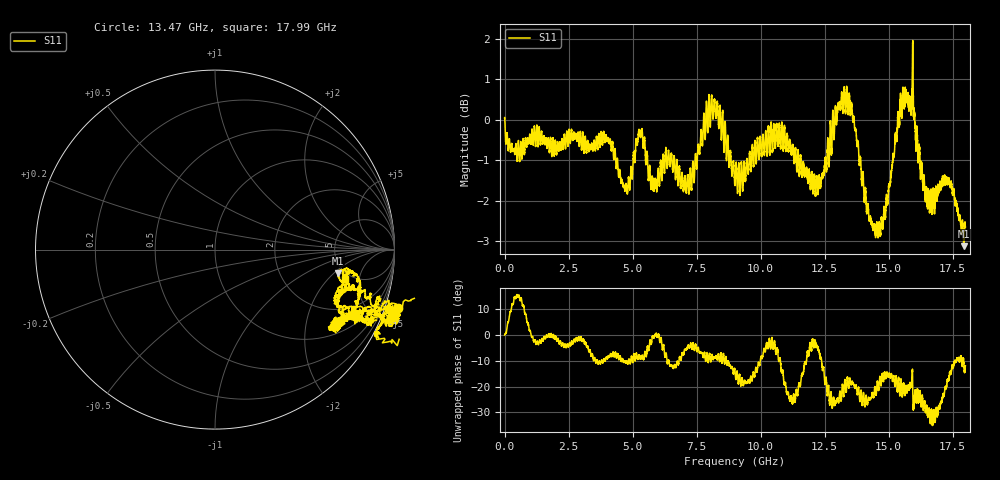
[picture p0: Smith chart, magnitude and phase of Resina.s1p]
!Keysight Technologies N9917A: A.12.46
!Date: Wednesday, 08 November 2023 22:45:00
!TimeZone: (UTC-03:00) Buenos Aires!Model: N9917A
!Serial: MY56072049
!GPS Latitude:
!GPS Longitude:
!GPS TimeStamp: 0001-01-01 00:00:00Z
!GPS Seconds Since Last Read: 0
!CHECKSUM:1371413415
!Correction: S11(ON U)
!S1P File: Measurement: S11:
# Hz S RI R 50
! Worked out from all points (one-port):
!   10001 points, 30 kHz to 18 GHz, reference 50 ohm
!   lowest |S11| = -3.1 dB at 17.94 GHz (marker M1), VSWR 5.62, Z = 221 - j113 ohm
!   |S11| at or under -10 dB: nowhere
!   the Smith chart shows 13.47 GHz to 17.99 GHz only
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30000  1.005 -6.44e-05
4.860292e8  0.8557 0.2411
1.179028e9  0.969 -0.0313
2.250026e9  0.9433 -0.0558
4.039223e9  0.9379 -0.1385
4.500022e9  0.8571 -0.1233
4.831222e9  0.8292 -0.1525
5.304621e9  0.9425 -0.1545
5.94542e9  0.822 -0.00637
6.433219e9  0.8774 -0.168
6.750019e9  0.8475 -0.1537
7.304418e9  0.8161 -0.0704
8.148616e9  0.9909 -0.1646
9.000015e9  0.8049 -0.1994
9.610214e9  0.8414 -0.2443
1.039681e10  0.9731 -0.0829
1.125001e10  0.8235 -0.4088
1.208341e10  0.8404 -0.0672
1.287001e10  0.8542 -0.4168
1.350001e10  0.9795 -0.3019
1.443421e10  0.6815 -0.2861
1.491841e10  0.7717 -0.2136
1.575e10  1 -0.3622
1.58778e10  0.974 -0.3589
1.66284e10  0.6538 -0.4412
1.73772e10  0.81 -0.2214
1.7937e10  0.6856 -0.1317
1.8e10  0.7214 -0.1521
